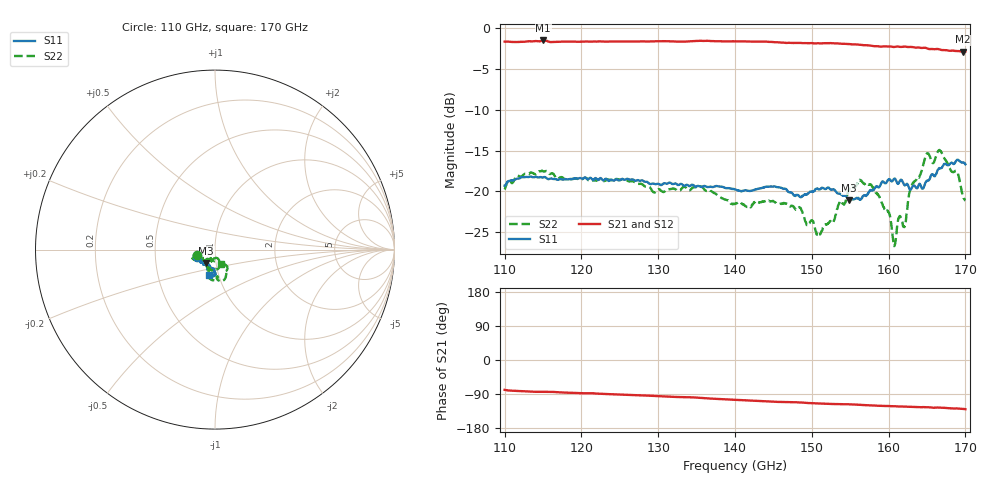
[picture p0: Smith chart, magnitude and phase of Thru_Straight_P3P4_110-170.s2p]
!Keysight Technologies,N5247B,MY61256062,A.16.20.04
!Date: Wednesday, November 26, 2025 04:22:55
!Correction: S11(C  2-Port  )
!S21(C  2-Port  )
!S12(C  2-Port  )
!S22(C  2-Port  )
!S2P File: Measurements: S11, S21, S12, S22:
# Hz S  RI  R 50
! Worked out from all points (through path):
!   1471 points, 110 GHz to 170 GHz, reference 50 ohm
!   highest |S21| = -1.49 dB at 115 GHz (marker M1); lowest = -2.9 dB at 169.7 GHz (marker M2)
!   group delay of S21, straight-line fit = 2.34 ps
!   lowest |S11| = -21.1 dB at 154.9 GHz (marker M3), VSWR 1.19, Z = 44.9 - j6.69 ohm
!   |S11| at or under -10 dB: start of sweep to end of sweep
!   |S22| runs from -26.7 to -14.9 dB; largest |S21 - S12| = 0.027
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1.1e11  -0.0998 -0.0424  0.1608 -0.812  0.1502 -0.8202  -0.0986 -0.0296
1.150204e11  -0.1129 -0.0461  0.0884 -0.8372  0.0739 -0.8455  -0.1231 -0.0492
1.2e11  -0.109 -0.0507  0.0355 -0.8265  0.0142 -0.8285  -0.1112 -0.0393
1.3e11  -0.0989 -0.0514  -0.0778 -0.8287  -0.0982 -0.8246  -0.0933 -0.0442
1.355102e11  -0.0916 -0.0549  -0.1433 -0.8255  -0.1671 -0.8182  -0.0969 -0.0468
1.4e11  -0.083 -0.0611  -0.2178 -0.8028  -0.238 -0.7962  -0.0745 -0.0387
1.466122e11  -0.0768 -0.0695  -0.2908 -0.7594  -0.3068 -0.753  -0.0521 -0.0664
1.5e11  -0.0601 -0.0802  -0.3291 -0.7415  -0.3315 -0.7396  -0.0288 -0.0601
1.510612e11  -0.0616 -0.0828  -0.3399 -0.7323  -0.3438 -0.7301  -0.0297 -0.0462
1.548571e11  -0.0486 -0.0739  -0.3625 -0.7132  -0.3634 -0.7105  -0.0466 -0.0919
1.576735e11  -0.0288 -0.098  -0.3891 -0.6795  -0.3764 -0.6873  0.0145 -0.1092
1.6e11  -0.0344 -0.1136  -0.4028 -0.6592  -0.4027 -0.6598  0.0239 -0.071
1.607755e11  -0.0403 -0.113  -0.4068 -0.6522  -0.4125 -0.6516  0.00354 -0.0464
1.613878e11  -0.0367 -0.1078  -0.4179 -0.6468  -0.4213 -0.6449  -0.0132 -0.0687
1.621224e11  -0.0389 -0.1017  -0.4223 -0.6463  -0.424 -0.6419  -0.0247 -0.0569
1.629388e11  -0.0284 -0.0996  -0.4262 -0.6395  -0.4245 -0.637  -0.0451 -0.0969
1.648571e11  -0.00452 -0.1143  -0.4296 -0.6241  -0.4123 -0.6324  -0.0273 -0.1632
1.657959e11  -0.00845 -0.1267  -0.4376 -0.6033  -0.4206 -0.6145  0.0131 -0.1485
1.665714e11  0.00217 -0.1391  -0.432 -0.6055  -0.4111 -0.6174  0.0369 -0.1748
1.689388e11  -0.0216 -0.1549  -0.4449 -0.573  -0.4463 -0.5715  0.0679 -0.1122
1.696735e11  -0.0295 -0.1475  -0.4542 -0.5583  -0.4579 -0.5562  0.0472 -0.0809
1.7e11  -0.0328 -0.143  -0.4609 -0.5544  -0.4633 -0.5502  0.0323 -0.0821
